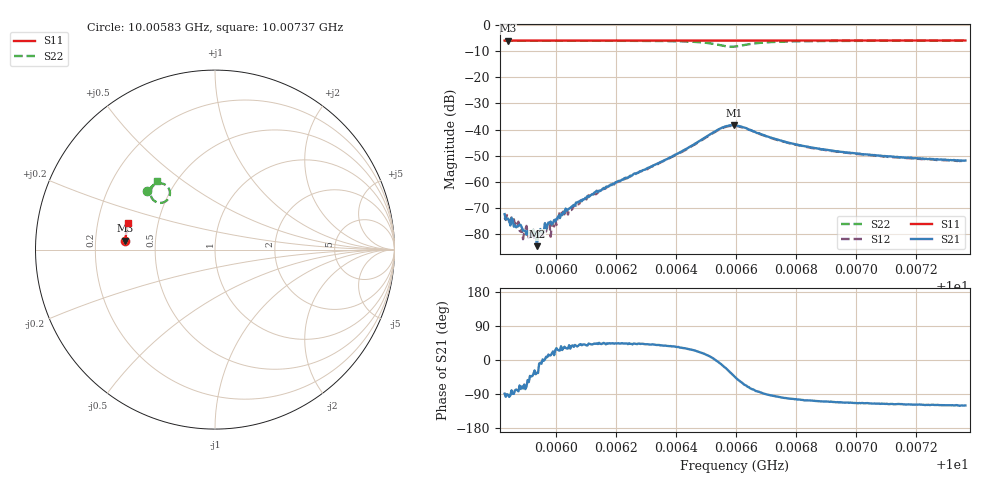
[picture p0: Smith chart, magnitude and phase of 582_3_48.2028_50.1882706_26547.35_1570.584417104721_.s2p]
#  HZ  S  RI  R  50.00
! Rohde & Schwarz Vector Network Analyzer
! Rohde-Schwarz,ZNB20-2Port,1311601062101988,3.16
! Created: UTC 3/20/2024, 12:02:09 PM
! freq[Hz]  re:S11  im:S11  re:S21  im:S21  re:S12  im:S12  re:S22  im:S22
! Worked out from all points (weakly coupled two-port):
!   401 points, 10.00583 GHz to 10.00737 GHz, reference 50 ohm
!   highest |S21| = -38.32 dB at 10.00659 GHz (marker M1); lowest = -84.5 dB at 10.00594 GHz (marker M2)
!   lowest |S11| = -6.0 dB at 10.00584 GHz (marker M3), VSWR 3.02, Z = 16.6 + j2.25 ohm
!   |S11| at or under -10 dB: nowhere
!   |S22| runs from -8.3 to -6.0 dB; largest |S21 - S12| = 0.00082
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1.0005828e10  -0.4997 0.0499  4.83e-06 -0.000244  -2.28e-06 -0.000211  -0.3764 0.3256
1.000584e10  -0.4996 0.0506  -5.27e-06 -0.000201  3.83e-05 -0.000206  -0.3759 0.3263
1.0005848e10  -0.4996 0.0511  -7.95e-06 -0.000148  -2.87e-06 -0.000177  -0.3754 0.3269
1.0005867e10  -0.4995 0.0524  2.85e-05 -0.000133  -3.01e-05 -0.000159  -0.3745 0.328
1.0005886e10  -0.4994 0.0538  4.63e-05 -0.000125  1.39e-05 -0.000124  -0.3734 0.3294
1.0005909e10  -0.4993 0.0553  5.6e-05 -9.1e-05  5.83e-05 -6.36e-05  -0.3721 0.3308
1.0005936e10  -0.4991 0.057  4.95e-05 -3.32e-05  9.24e-05 -3.92e-05  -0.3707 0.3324
1.0005947e10  -0.499 0.0578  0.000126 -1.61e-05  0.000106 -1.73e-05  -0.37 0.3333
1.0005971e10  -0.4989 0.0593  0.000147 1.92e-05  0.000136 4.14e-05  -0.3687 0.3348
1.000599e10  -0.4989 0.0604  0.000153 6.36e-05  0.000158 4.28e-05  -0.3676 0.3358
1.0006017e10  -0.4987 0.0623  0.000194 0.000143  0.000222 0.000115  -0.3661 0.3379
1.0006047e10  -0.4983 0.0643  0.000277 0.00016  0.00023 0.000182  -0.3641 0.3398
1.0006086e10  -0.4981 0.0666  0.000334 0.00027  0.000321 0.000322  -0.3614 0.3424
1.0006178e10  -0.4976 0.0727  0.000604 0.00059  0.000617 0.000602  -0.3543 0.3491
1.0006343e10  -0.4961 0.0835  0.00178 0.00148  0.00168 0.00156  -0.3341 0.3629
1.0006547e10  -0.4932 0.0964  0.0103 -0.00158  0.0102 -0.00102  -0.2519 0.3247
1.0006593e10  -0.4926 0.0987  0.00903 -0.00812  0.00927 -0.00733  -0.2768 0.2682
1.0006597e10  -0.4927 0.0989  0.00843 -0.00852  0.00881 -0.00781  -0.2816 0.2654
1.0006681e10  -0.4926 0.1041  0.000652 -0.00825  0.00102 -0.0081  -0.3527 0.2885
1.0006854e10  -0.4907 0.1154  -0.00135 -0.00434  -0.00112 -0.00428  -0.355 0.3387
1.0007112e10  -0.4871 0.1318  -0.00138 -0.00276  -0.00117 -0.00276  -0.3393 0.3649
1.0007365e10  -0.4831 0.1477  -0.00128 -0.00223  -0.00118 -0.00222  -0.3252 0.3808
